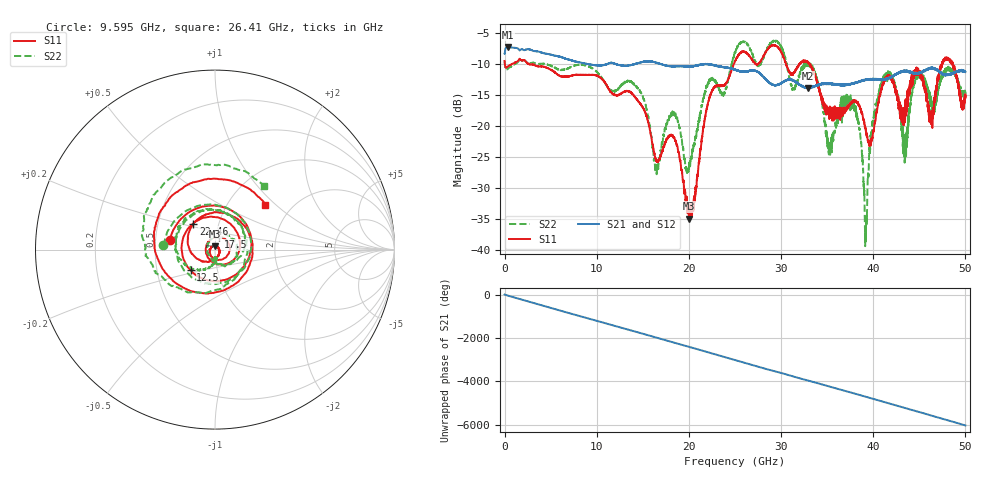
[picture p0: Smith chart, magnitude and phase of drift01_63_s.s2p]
!Created with skrf (http://scikit-rf.org).
# Hz S RI R 50.0
!freq ReS11 ImS11 ReS21 ImS21 ReS12 ImS12 ReS22 ImS22
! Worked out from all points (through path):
!   10001 points, 300 kHz to 50 GHz, reference 50 ohm
!   highest |S21| = -7.33 dB at 325.3 MHz (marker M1); lowest = -14.0 dB at 32.89 GHz (marker M2)
!   group delay of S21, straight-line fit = 335 ps
!   lowest |S11| = -35.0 dB at 20.01 GHz (marker M3), VSWR 1.04, Z = 50 + j1.78 ohm
!   |S11| at or under -10 dB: 2.566 GHz to 24.9 GHz (22.33 GHz wide, 163 % of centre); 30.53 GHz to 32.04 GHz (1.513 GHz wide, 4.84 % of centre); 33.07 GHz to 47.45 GHz (14.39 GHz wide, 35.7 % of centre) (the widest 3 of 23)
!   |S22| runs from -39.4 to -6.3 dB; largest |S21 - S12| = 0.0098
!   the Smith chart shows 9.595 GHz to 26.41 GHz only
!   S11 on the Smith chart (normalised r, x): 9.595 GHz: 0.60, +0.07; 12.5 GHz: 0.74, -0.18; 17.5 GHz: 1.03, +0.15; 22.46 GHz: 0.76, +0.23; 26.41 GHz: 1.48, +0.86
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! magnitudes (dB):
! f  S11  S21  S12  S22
! 300 kHz  -9.6  -8.4  -8.5  -9.5
! 325.3 MHz  -10.5  -7.3  -7.3  -10.9
! 8.335 GHz  -11.8  -9.8  -9.9  -10.2
! 9.595 GHz  -11.8  -10.2  -10.2  -10.8
! 12.5 GHz  -15.0  -10.2  -10.3  -13.7
! 16.67 GHz  -25.8  -9.9  -9.9  -27.0
! 17.5 GHz  -22.6  -10.3  -10.3  -20.3
! 20.01 GHz  -35.0  -10.5  -10.4  -26.6
! 22.46 GHz  -14.5  -10.2  -10.2  -12.6
! 25 GHz  -9.6  -11.0  -11.0  -8.2
! 26.41 GHz  -8.5  -11.3  -11.3  -6.9
! 32.89 GHz  -9.9  -14.0  -13.9  -9.9
! 33.34 GHz  -10.8  -13.8  -13.8  -10.7
! 35.26 GHz  -18.8  -13.2  -13.2  -23.3
! 37.95 GHz  -15.9  -13.1  -13.1  -17.3
! 39.17 GHz  -20.5  -12.6  -12.6  -38.0
! 40.12 GHz  -20.1  -12.5  -12.5  -17.9
! 41.67 GHz  -11.8  -12.3  -12.3  -11.7
! 43.44 GHz  -19.5  -11.2  -11.1  -23.7
! 44.83 GHz  -11.5  -11.6  -11.5  -11.9
! 46.23 GHz  -18.9  -10.7  -10.8  -15.5
! 50 GHz  -15.5  -11.3  -11.3  -14.9
